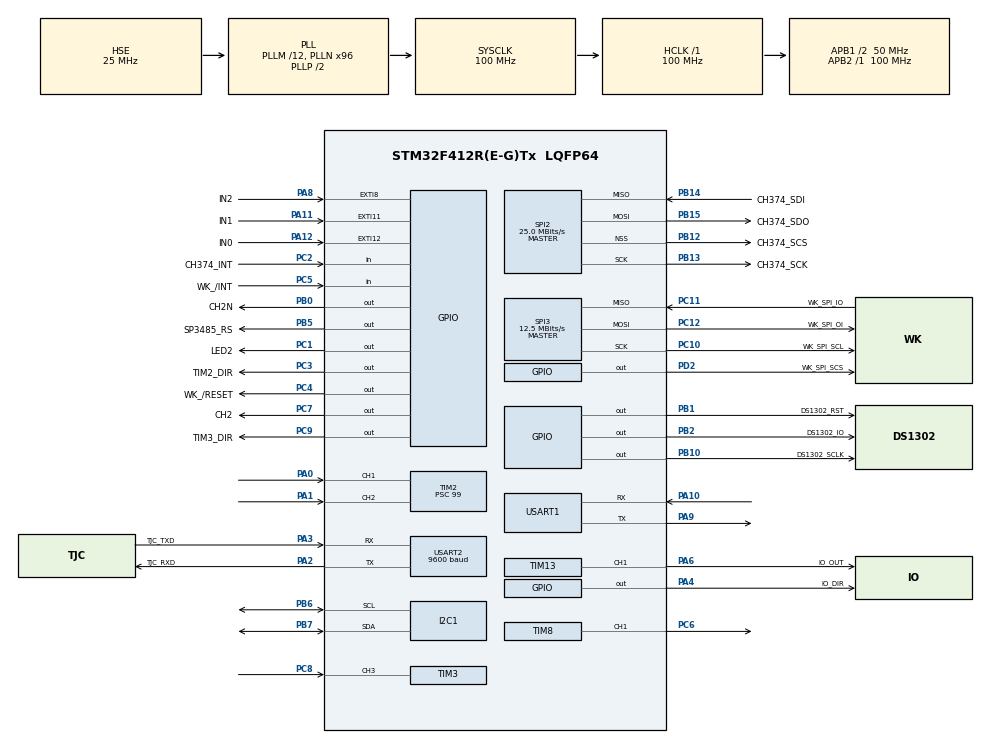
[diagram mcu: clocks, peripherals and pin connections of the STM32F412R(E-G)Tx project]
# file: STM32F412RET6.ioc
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Dma.Request0=USART2_RX
Dma.Request1=USART2_TX
Dma.Request2=USART1_RX
Dma.Request3=USART1_TX
Dma.USART1_RX.2.Direction=DMA_PERIPH_TO_MEMORY
Dma.USART1_RX.2.FIFOMode=DMA_FIFOMODE_DISABLE
Dma.USART1_RX.2.Instance=DMA2_Stream2
Dma.USART1_RX.2.MemDataAlignment=DMA_MDATAALIGN_BYTE
Dma.USART1_RX.2.MemInc=DMA_MINC_ENABLE
Dma.USART1_RX.2.Mode=DMA_NORMAL
Dma.USART1_RX.2.PeriphDataAlignment=DMA_PDATAALIGN_BYTE
Dma.USART1_RX.2.PeriphInc=DMA_PINC_DISABLE
Dma.USART1_RX.2.Priority=DMA_PRIORITY_LOW
Dma.USART1_TX.3.Direction=DMA_MEMORY_TO_PERIPH
Dma.USART1_TX.3.FIFOMode=DMA_FIFOMODE_DISABLE
Dma.USART1_TX.3.Instance=DMA2_Stream7
Dma.USART1_TX.3.MemDataAlignment=DMA_MDATAALIGN_BYTE
Dma.USART1_TX.3.MemInc=DMA_MINC_ENABLE
Dma.USART1_TX.3.Mode=DMA_NORMAL
Dma.USART1_TX.3.PeriphDataAlignment=DMA_PDATAALIGN_BYTE
Dma.USART1_TX.3.PeriphInc=DMA_PINC_DISABLE
Dma.USART1_TX.3.Priority=DMA_PRIORITY_LOW
Dma.USART2_RX.0.Direction=DMA_PERIPH_TO_MEMORY
Dma.USART2_RX.0.FIFOMode=DMA_FIFOMODE_DISABLE
Dma.USART2_RX.0.Instance=DMA1_Stream5
Dma.USART2_RX.0.MemDataAlignment=DMA_MDATAALIGN_BYTE
Dma.USART2_RX.0.MemInc=DMA_MINC_ENABLE
Dma.USART2_RX.0.Mode=DMA_NORMAL
Dma.USART2_RX.0.PeriphDataAlignment=DMA_PDATAALIGN_BYTE
Dma.USART2_RX.0.PeriphInc=DMA_PINC_DISABLE
Dma.USART2_RX.0.Priority=DMA_PRIORITY_LOW
Dma.USART2_TX.1.Direction=DMA_MEMORY_TO_PERIPH
Dma.USART2_TX.1.FIFOMode=DMA_FIFOMODE_DISABLE
Dma.USART2_TX.1.Instance=DMA1_Stream6
Dma.USART2_TX.1.MemDataAlignment=DMA_MDATAALIGN_BYTE
Dma.USART2_TX.1.MemInc=DMA_MINC_ENABLE
Dma.USART2_TX.1.Mode=DMA_NORMAL
Dma.USART2_TX.1.PeriphDataAlignment=DMA_PDATAALIGN_BYTE
Dma.USART2_TX.1.PeriphInc=DMA_PINC_DISABLE
Dma.USART2_TX.1.Priority=DMA_PRIORITY_LOW
FREERTOS.Queues01=myQueue01,5,uint8_t,0,Dynamic,NULL,NULL
FREERTOS.Tasks01=defaultTask,24,128,StartDefaultTask,Default,NULL,Dynamic,NULL,NULL;myTask01,8,128,StartTask01,Default,NULL,Dynamic,NULL,NULL
FREERTOS.configMAX_TASK_NAME_LEN=32
I2C1.I2C_Mode=I2C_Fast
Mcu.Family=STM32F4
Mcu.Name=STM32F412R(E-G)Tx
Mcu.Package=LQFP64
NVIC.DMA1_Stream5_IRQn=true\:5\:0\:false\:false\:true\:true\:false\:true\:true
NVIC.DMA1_Stream6_IRQn=true\:5\:0\:false\:false\:true\:true\:false\:true\:true
NVIC.DMA2_Stream2_IRQn=true\:5\:0\:false\:false\:true\:true\:false\:true\:true
NVIC.DMA2_Stream7_IRQn=true\:5\:0\:false\:false\:true\:true\:false\:true\:true
NVIC.EXTI15_10_IRQn=true\:5\:0\:false\:false\:true\:true\:true\:true\:true
NVIC.EXTI9_5_IRQn=true\:5\:0\:false\:false\:true\:true\:true\:true\:true
NVIC.I2C1_ER_IRQn=true\:5\:0\:false\:false\:true\:true\:true\:true\:true
NVIC.I2C1_EV_IRQn=true\:5\:0\:false\:false\:true\:true\:true\:true\:true
NVIC.PriorityGroup=NVIC_PRIORITYGROUP_4
NVIC.SPI3_IRQn=true\:5\:0\:false\:false\:true\:true\:true\:true\:true
NVIC.TIM1_UP_TIM10_IRQn=true\:15\:0\:false\:false\:true\:false\:false\:true\:true
NVIC.TIM2_IRQn=true\:5\:0\:true\:false\:true\:true\:true\:true\:true
NVIC.TIM3_IRQn=true\:6\:0\:true\:false\:true\:true\:true\:true\:true
NVIC.TIM8_BRK_TIM12_IRQn=true\:5\:0\:false\:false\:true\:true\:true\:true\:true
NVIC.TIM8_CC_IRQn=true\:5\:0\:false\:false\:true\:true\:true\:true\:true
NVIC.TIM8_TRG_COM_TIM14_IRQn=true\:5\:0\:false\:false\:true\:true\:true\:true\:true
NVIC.TIM8_UP_TIM13_IRQn=true\:5\:0\:false\:false\:true\:true\:true\:true\:true
NVIC.TimeBase=TIM1_UP_TIM10_IRQn
NVIC.TimeBaseIP=TIM1
NVIC.USART1_IRQn=true\:5\:0\:false\:false\:true\:true\:true\:true\:true
NVIC.USART2_IRQn=true\:5\:0\:false\:false\:true\:true\:true\:true\:true
PA0.GPIO_PuPd=GPIO_PULLUP
PA0.Signal=S_TIM2_CH1_ETR
PA1.GPIO_PuPd=GPIO_PULLUP
PA1.Signal=S_TIM2_CH2
PA10.Mode=Asynchronous
PA10.Signal=USART1_RX
PA11.GPIO_Label=IN1
PA11.Signal=GPXTI11
PA12.GPIO_Label=IN0
PA12.Signal=GPXTI12
PA13.GPIO_Label=TMS
PA13.Mode=JTAG_5_pins
PA13.Signal=SYS_JTMS-SWDIO
PA14.GPIO_Label=TCK
PA14.Mode=JTAG_5_pins
PA14.Signal=SYS_JTCK-SWCLK
PA15.GPIO_Label=TDI
PA15.Mode=JTAG_5_pins
PA15.Signal=SYS_JTDI
PA2.GPIO_Label=TJC_RXD
PA2.Mode=Asynchronous
PA2.Signal=USART2_TX
PA3.GPIO_Label=TJC_TXD
PA3.Mode=Asynchronous
PA3.Signal=USART2_RX
PA4.GPIO_Label=IO_DIR
PA4.Signal=GPIO_Output
PA6.GPIO_Label=IO_OUT
PA6.GPIO_PuPd=GPIO_NOPULL
PA6.Signal=S_TIM13_CH1
PA8.GPIO_Label=IN2
PA8.GPIO_ModeDefaultEXTI=GPIO_MODE_IT_RISING
PA8.Signal=GPXTI8
PA9.Mode=Asynchronous
PA9.Signal=USART1_TX
PB0.GPIO_Label=CH2N
PB0.Signal=GPIO_Output
PB1.GPIO_Label=DS1302_RST
PB1.Signal=GPIO_Output
PB10.GPIO_Label=DS1302_SCLK
PB10.GPIO_PuPd=GPIO_PULLUP
PB10.Signal=GPIO_Output
PB12.GPIO_Label=CH374_SCS
PB12.Mode=NSS_Signal_Hard_Output
PB12.Signal=SPI2_NSS
PB13.GPIO_Label=CH374_SCK
PB13.Mode=Full_Duplex_Master
PB13.Signal=SPI2_SCK
PB14.GPIO_Label=CH374_SDI
PB14.Mode=Full_Duplex_Master
PB14.Signal=SPI2_MISO
PB15.GPIO_Label=CH374_SDO
PB15.Mode=Full_Duplex_Master
PB15.Signal=SPI2_MOSI
PB2.GPIO_Label=DS1302_IO
PB2.Signal=GPIO_Output
PB3.GPIO_Label=TDO
PB3.Mode=JTAG_5_pins
PB3.Signal=SYS_JTDO-SWO
PB4.GPIO_Label=NTRST
PB4.Mode=JTAG_5_pins
PB4.Signal=SYS_JTRST
PB5.GPIO_Label=SP3485_RS
PB5.Signal=GPIO_Output
PB6.Mode=I2C
PB6.Signal=I2C1_SCL
PB7.Mode=I2C
PB7.Signal=I2C1_SDA
PC1.GPIO_Label=LED2
PC1.GPIO_PuPd=GPIO_PULLUP
PC1.Signal=GPIO_Output
PC10.GPIO_Label=WK_SPI_SCL
PC10.Mode=Full_Duplex_Master
PC10.Signal=SPI3_SCK
PC11.GPIO_Label=WK_SPI_IO
PC11.Mode=Full_Duplex_Master
PC11.Signal=SPI3_MISO
PC12.GPIO_Label=WK_SPI_OI
PC12.Mode=Full_Duplex_Master
PC12.Signal=SPI3_MOSI
PC2.GPIO_Label=CH374_INT
PC2.Signal=GPIO_Input
PC3.GPIO_Label=TIM2_DIR
PC3.Signal=GPIO_Output
PC4.GPIO_Label=WK_/RESET
PC4.Signal=GPIO_Output
PC5.GPIO_Label=WK_/INT
PC5.Signal=GPIO_Input
PC6.Signal=S_TIM8_CH1
PC7.GPIO_Label=CH2
PC7.Signal=GPIO_Output
PC8.Signal=S_TIM3_CH3
PC9.GPIO_Label=TIM3_DIR
PC9.Signal=GPIO_Output
PD2.GPIO_Label=WK_SPI_SCS
PD2.GPIO_PuPd=GPIO_PULLUP
PD2.Signal=GPIO_Output
PH0\ -\ OSC_IN.Mode=HSE-External-Oscillator
PH0\ -\ OSC_IN.Signal=RCC_OSC_IN
PH1\ -\ OSC_OUT.Mode=HSE-External-Oscillator
PH1\ -\ OSC_OUT.Signal=RCC_OSC_OUT
ProjectManager.HeapSize=0x200
ProjectManager.StackSize=0x400
ProjectManager.TargetToolchain=MDK-ARM V5.32
RCC.AHBFreq_Value=100000000
RCC.APB1CLKDivider=RCC_HCLK_DIV2
RCC.APB1Freq_Value=50000000
RCC.APB1TimFreq_Value=100000000
RCC.APB2Freq_Value=100000000
RCC.APB2TimFreq_Value=100000000
RCC.CortexFreq_Value=100000000
RCC.HCLKFreq_Value=100000000
RCC.PLLM=12
RCC.PLLN=96
RCC.PLLSourceVirtual=RCC_PLLSOURCE_HSE
RCC.SYSCLKFreq_VALUE=100000000
RCC.SYSCLKSource=RCC_SYSCLKSOURCE_PLLCLK
RCC.USBFreq_Value=100000000
RCC.VCOOutputFreq_Value=200000000
SH.S_TIM13_CH1.0=TIM13_CH1,PWM Generation1 CH1
SH.S_TIM2_CH1_ETR.0=TIM2_CH1,Encoder_Interface
SH.S_TIM2_CH2.0=TIM2_CH2,Encoder_Interface
SH.S_TIM3_CH3.0=TIM3_CH3,Input_Capture3_from_TI3
SH.S_TIM8_CH1.0=TIM8_CH1,PWM Generation1 CH1
SPI2.CalculateBaudRate=25.0 MBits/s
SPI2.Direction=SPI_DIRECTION_2LINES
SPI2.Mode=SPI_MODE_MASTER
SPI2.VirtualNSS=VM_NSSHARD
SPI2.VirtualType=VM_MASTER
SPI3.BaudRatePrescaler=SPI_BAUDRATEPRESCALER_4
SPI3.CLKPhase=SPI_PHASE_2EDGE
SPI3.CLKPolarity=SPI_POLARITY_HIGH
SPI3.CalculateBaudRate=12.5 MBits/s
SPI3.Direction=SPI_DIRECTION_2LINES
SPI3.Mode=SPI_MODE_MASTER
SPI3.VirtualType=VM_MASTER
TIM13.AutoReloadPreload=TIM_AUTORELOAD_PRELOAD_DISABLE
TIM13.Channel=TIM_CHANNEL_1
TIM13.Period=1000-1
TIM13.Prescaler=100-1
TIM13.Pulse=500
TIM2.EncoderMode=TIM_ENCODERMODE_TI12
TIM2.IC1Filter=6
TIM2.IC2Filter=6
TIM2.Period=20000-1
TIM2.Prescaler=99
TIM3.AutoReloadPreload=TIM_AUTORELOAD_PRELOAD_ENABLE
TIM3.Channel-Input_Capture3_from_TI3=TIM_CHANNEL_3
TIM3.Period=20000-1
TIM3.Prescaler=999
TIM8.AutoReloadPreload=TIM_AUTORELOAD_PRELOAD_DISABLE
TIM8.Channel-PWM\ Generation1\ CH1=TIM_CHANNEL_1
TIM8.Period=5
TIM8.Prescaler=100-1
TIM8.Pulse-PWM\ Generation1\ CH1=500
USART1.VirtualMode=VM_ASYNC
USART2.BaudRate=9600
USART2.VirtualMode=VM_ASYNC
VP_FREERTOS_VS_CMSIS_V2.Mode=CMSIS_V2
VP_SYS_VS_tim1.Mode=TIM1
VP_TIM13_VS_ClockSourceINT.Mode=Enable_Timer
VP_TIM3_VS_ClockSourceINT.Mode=Internal
board=custom

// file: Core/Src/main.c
/* USER CODE BEGIN Header */
/**
  ******************************************************************************
  * @file           : main.c
  * @brief          : Main program body
  ******************************************************************************
  * @attention
  *
  * Copyright (c) 2024 STMicroelectronics.
  * All rights reserved.
  *
  * This software is licensed under terms that can be found in the LICENSE file
  * in the root directory of this software component.
  * If no LICENSE file comes with this software, it is provided AS-IS.
  *
  ******************************************************************************
  */
/* USER CODE END Header */
#include "main.h"
#include "cmsis_os.h"
#include "dma.h"
#include "i2c.h"
#include "spi.h"
#include "tim.h"
#include "usart.h"
#include "gpio.h"

/* USER CODE BEGIN Includes */
float speed_Record[SPEED_RECORD_NUM]={0};
/* USER CODE END Includes */

/* USER CODE BEGIN PTD */
float Speed_Low_Filter(float new_Spe,float *speed_Record);
/* USER CODE END PTD */

void SystemClock_Config(void);
void MX_FREERTOS_Init(void);

int main(void)
{

  /* MCU Configuration--------------------------------------------------------*/

  /* Reset of all peripherals, Initializes the Flash interface and the Systick. */
  HAL_Init();

  /* Configure the system clock */
  SystemClock_Config();

  /* Initialize all configured peripherals */
  MX_GPIO_Init();
  MX_DMA_Init();
  MX_TIM2_Init();
  MX_USART2_UART_Init();
  MX_USART1_UART_Init();
  MX_I2C1_Init();
  MX_SPI2_Init();
  MX_SPI3_Init();
  MX_TIM3_Init();
  MX_TIM8_Init();
  MX_TIM13_Init();

  /* Init scheduler */
  osKernelInitialize();  /* Call init function for freertos objects (in freertos.c) */
  MX_FREERTOS_Init();

  /* Start scheduler */
  osKernelStart();

  /* We should never get here as control is now taken by the scheduler */
  /* Infinite loop */
  while (1)
  {

  }
}

void SystemClock_Config(void)
{
  RCC_OscInitTypeDef RCC_OscInitStruct = {0};
  RCC_ClkInitTypeDef RCC_ClkInitStruct = {0};

  /** Configure the main internal regulator output voltage
  */
  __HAL_RCC_PWR_CLK_ENABLE();
  __HAL_PWR_VOLTAGESCALING_CONFIG(PWR_REGULATOR_VOLTAGE_SCALE1);

  /** Initializes the RCC Oscillators according to the specified parameters
  * in the RCC_OscInitTypeDef structure.
  */
  RCC_OscInitStruct.OscillatorType = RCC_OSCILLATORTYPE_HSE;
  RCC_OscInitStruct.HSEState = RCC_HSE_ON;
  RCC_OscInitStruct.PLL.PLLState = RCC_PLL_ON;
  RCC_OscInitStruct.PLL.PLLSource = RCC_PLLSOURCE_HSE;
  RCC_OscInitStruct.PLL.PLLM = 12;
  RCC_OscInitStruct.PLL.PLLN = 96;
  RCC_OscInitStruct.PLL.PLLP = RCC_PLLP_DIV2;
  RCC_OscInitStruct.PLL.PLLQ = 2;
  RCC_OscInitStruct.PLL.PLLR = 2;
  if (HAL_RCC_OscConfig(&RCC_OscInitStruct) != HAL_OK)
  {
    Error_Handler();
  }

  /** Initializes the CPU, AHB and APB buses clocks
  */
  RCC_ClkInitStruct.ClockType = RCC_CLOCKTYPE_HCLK|RCC_CLOCKTYPE_SYSCLK
                              |RCC_CLOCKTYPE_PCLK1|RCC_CLOCKTYPE_PCLK2;
  RCC_ClkInitStruct.SYSCLKSource = RCC_SYSCLKSOURCE_PLLCLK;
  RCC_ClkInitStruct.AHBCLKDivider = RCC_SYSCLK_DIV1;
  RCC_ClkInitStruct.APB1CLKDivider = RCC_HCLK_DIV2;
  RCC_ClkInitStruct.APB2CLKDivider = RCC_HCLK_DIV1;

  if (HAL_RCC_ClockConfig(&RCC_ClkInitStruct, FLASH_LATENCY_3) != HAL_OK)
  {
    Error_Handler();
  }
}

/* USER CODE BEGIN 4 */
void HAL_GPIO_EXTI_Callback(uint16_t GPIO_Pin)//GPIO中断回调函数
{
	if(GPIO_Pin==IN0_Pin)
	{
		if(Position_flag==0)//刚开机
		{
			Position_flag=1;
		__HAL_TIM_SET_COUNTER(&htim2, 10000);//校验位置
		}
		else if(Position_flag==1)
		{
			Position_flag=2;
			Encoder_Processing_flag=1;
		}
		else if(Position_flag==3)//以自检
		{
			Position_flag=4;
			Encoder_Processing_flag=1;
		}
		__HAL_GPIO_EXTI_CLEAR_IT(IN0_Pin);//清除中断标志位
		HAL_GPIO_TogglePin(GPIOB,GPIO_PIN_0);//控制电机驱动控制电机正反转
	}

	else if(GPIO_Pin==IN1_Pin)
	{
		if(Position_flag==2)
		{
			Position_flag=3;
			Position=0.0f;
		}
		else if(Position_flag==3)//自检
		{
			Position_flag=5;
			Encoder_Processing_flag=1;
		}
		__HAL_TIM_SET_COUNTER(&htim2, 10000);//校验位置
		__HAL_GPIO_EXTI_CLEAR_IT(IN1_Pin);//清除中断标志位
	}

	else if(GPIO_Pin==IN2_Pin)
	{
		if(Position_flag==0)//刚开机
		{
			Position_flag=1;
		__HAL_TIM_SET_COUNTER(&htim2, 10000);//校验位置
		}
		else if(Position_flag==1)
		{
			Position_flag=2;
			Encoder_Processing_flag=1;
		}
		else if(Position_flag==3)//自检
		{
			Position_flag=6;
			Encoder_Processing_flag=1;
		}
		__HAL_GPIO_EXTI_CLEAR_IT(IN2_Pin);//清除中断标志位
		HAL_GPIO_TogglePin(GPIOB,GPIO_PIN_0);//控制电机驱动控制电机正反转
	}

}

/*
 * 进行速度的平均滤波
 * 输入新采样到的速度，存放速度的数组，
 * 返回滤波后的速度
 */
float Speed_Low_Filter(float new_Spe,float *speed_Record)
{
    float sum = 0.0f;
    float test_Speed;
    for(uint8_t i=SPEED_RECORD_NUM-1;i>0;i--)//将现有数据后移一位
    {
        speed_Record[i] = speed_Record[i-1];
        sum += speed_Record[i-1];
    }
    speed_Record[0] = new_Spe;//第一位是新的数据
    sum += new_Spe;
    test_Speed = sum/SPEED_RECORD_NUM;
    return test_Speed;//返回均值
}

/* USER CODE END 4 */

void HAL_TIM_PeriodElapsedCallback(TIM_HandleTypeDef *htim)
{
  if (htim->Instance == TIM1) {
    HAL_IncTick();
  }
  /* USER CODE BEGIN Callback 1 */
	else if(htim->Instance==TIM3)//间隔定时器中断，是时候计算速度了（100ms处理一次）
	{
		Encoder_Processing_flag=1;
	}

	else if(htim->Instance==TIM2)//码器溢出更新中断
	{
		if(COUNTERNUM < 10000)	motor1.overflowNum++;         //向上计数超过10000，正溢出+1
		else if(COUNTERNUM > 10000)	motor1.overflowNum--;     //向下计数小于0，负溢出+1
		__HAL_TIM_SetCounter(&htim2, 10000);             //重新设定初始值
	}

	else if(htim->Instance==TIM8)//PWM输出
	{
		if(htim->Channel == HAL_TIM_ACTIVE_CHANNEL_1)//判断是否为定时器 通道1
		{
			if(Position_flag==0||Position_flag==1||Position_flag==2)//自检位置持续移动
			{
				HAL_TIM_PWM_Start_IT(&htim8,TIM_CHANNEL_1);//启动TIM8_CH1的PWM波输出（中断）
			}

//			__HAL_TIM_SetCompare(&htim8,TIM_CHANNEL_1,pwmVal_TIM8);//修改占空比大小
//			HAL_TIM_PWM_Start_IT(&htim8,TIM_CHANNEL_1);//启动TIM8_CH1的PWM波输出（中断）
		}
	}
	else if(htim->Instance==TIM13)//PWM输出
	{
		if(htim->Channel == HAL_TIM_ACTIVE_CHANNEL_1)//判断是否为定时器 通道1
		{

//		HAL_TIM_PWM_Start_IT(&htim13,TIM_CHANNEL_1);//启动TIM13_CH1的PWM波输出（中断）
		}
	}
  /* USER CODE END Callback 1 */
}

void Error_Handler(void)
{
  __disable_irq();
  while (1)
  {
  }
}

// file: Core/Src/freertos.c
/* USER CODE BEGIN Header */
/**
  ******************************************************************************
  * File Name          : freertos.c
  * Description        : Code for freertos applications
  ******************************************************************************
  * @attention
  *
  * Copyright (c) 2024 STMicroelectronics.
  * All rights reserved.
  *
  * This software is licensed under terms that can be found in the LICENSE file
  * in the root directory of this software component.
  * If no LICENSE file comes with this software, it is provided AS-IS.
  *
  ******************************************************************************
  */
/* USER CODE END Header */

#include "FreeRTOS.h"
#include "task.h"
#include "main.h"
#include "cmsis_os.h"

/* USER CODE BEGIN PTD */
wiz_NetInfo gWIZNETINFO = {
  .mac = { 0x80, 0x80, 0x80,0x80,0x80,0x80 },//MSB - LSB
  .ip  = { 192, 168, 1, 10 },
  .sn  = { 255, 255, 255, 0 },
  .gw  = { 192, 168, 1, 1 },//网关参数
  .dns  = { 8, 8, 8, 8 },
  .dhcp = NETINFO_STATIC };

Motor motor1;
float Position;//距0点位置,单位mm
uint16_t pwmVal_TIM8 = 0;  //占空比大小(CCRx的大小，高电平时间)
uint8_t Position_flag=0;//位置标志位
uint8_t Encoder_Processing_flag=0;//编码器数据处理标志位
float  Track_Length;//轨道长，单位毫米
uint16_t pwmVal_TIM13 = 0;  //占空比大小(CCRx的大小，高电平时间)
uint8_t Sports_mode=0;//运动模式
/* USER CODE END PTD */

/* Definitions for defaultTask */
osThreadId_t defaultTaskHandle;
const osThreadAttr_t defaultTask_attributes = {
  .name = "defaultTask",
  .stack_size = 128 * 4,
  .priority = (osPriority_t) osPriorityNormal,
};
/* Definitions for myTask01 */
osThreadId_t myTask01Handle;
const osThreadAttr_t myTask01_attributes = {
  .name = "myTask01",
  .stack_size = 128 * 4,
  .priority = (osPriority_t) osPriorityLow,
};
/* Definitions for myQueue01 */
osMessageQueueId_t myQueue01Handle;
const osMessageQueueAttr_t myQueue01_attributes = {
  .name = "myQueue01"
};

/* USER CODE BEGIN FunctionPrototypes */
osThreadId_t EthernetTaskHandle;
const osThreadAttr_t EthernetTask_attributes = {
  .name = "EthernetTask",
  .stack_size = 256 * 4,
  .priority = (osPriority_t) osPriorityLow,
};

osThreadId_t EncoderTaskHandle;
const osThreadAttr_t EncoderTask_attributes = {
  .name = "EncoderTask",
  .stack_size = 128 * 4,
  .priority = (osPriority_t) osPriorityLow,
};

osThreadId_t DriveTaskHandle;
const osThreadAttr_t DriveTask_attributes = {
  .name = "DriveTask",
  .stack_size = 128 * 4,
  .priority = (osPriority_t) osPriorityLow,
};

osThreadId_t Pulse_EmissionTaskHandle;
const osThreadAttr_t Pulse_EmissionTask_attributes = {
  .name = "Pulse_EmissionTask",
  .stack_size = 128 * 4,
  .priority = (osPriority_t) osPriorityLow,
};

osThreadId_t ScreenTaskHandle;
const osThreadAttr_t ScreenTask_attributes = {
  .name = "ScreenTask",
  .stack_size = 128 * 4,
  .priority = (osPriority_t) osPriorityLow,
};

osMessageQueueId_t Ethernet_ReceiveHandle;
const osMessageQueueAttr_t Ethernet_Receive_attributes = {
  .name = "Ethernet_Receive"
};

void Ethernet(void *argument);//网络通信
void Encoder(void *argument);//电动机编码器通讯
void Drive(void *argument);//控制驱动器
void Pulse_Emission(void *argument);//脉冲发射
void Screen(void *argument);//屏幕通信
/* USER CODE END FunctionPrototypes */

void StartDefaultTask(void *argument);
void StartTask01(void *argument);

void MX_FREERTOS_Init(void); /* (MISRA C 2004 rule 8.1) */

void MX_FREERTOS_Init(void) {

  /* Create the queue(s) */
  /* creation of myQueue01 */
  myQueue01Handle = osMessageQueueNew (5, sizeof(uint8_t), &myQueue01_attributes);

  /* Create the thread(s) */
  /* creation of defaultTask */
  defaultTaskHandle = osThreadNew(StartDefaultTask, NULL, &defaultTask_attributes);

  /* creation of myTask01 */
  myTask01Handle = osThreadNew(StartTask01, NULL, &myTask01_attributes);

  /* USER CODE BEGIN RTOS_THREADS */
	EthernetTaskHandle = osThreadNew(Ethernet, NULL, &EthernetTask_attributes);
	EncoderTaskHandle = osThreadNew(Encoder, NULL, &EncoderTask_attributes);
	DriveTaskHandle = osThreadNew(Drive, NULL, &DriveTask_attributes);
	Pulse_EmissionTaskHandle = osThreadNew(Pulse_Emission, NULL, &Pulse_EmissionTask_attributes);
	ScreenTaskHandle = osThreadNew(Screen, NULL, &ScreenTask_attributes);

	Ethernet_ReceiveHandle = osMessageQueueNew (5, 5*sizeof(uint8_t), &Ethernet_Receive_attributes);

  /* add threads, ... */
  /* USER CODE END RTOS_THREADS */

}

void StartDefaultTask(void *argument)
{
  for(;;)
  {
    osDelay(1);
  }
}

void StartTask01(void *argument)
{
  for(;;)
  {
    osDelay(1);
  }
}

/* USER CODE BEGIN Application */
void Ethernet(void *argument)//W5500通讯
{
	printf("A simple Ping Application using W5500!\r\n");
  W5500Init();//w5500初始化
  ctlnetwork(CN_SET_NETINFO, (void*)&gWIZNETINFO);  //配置网络参数
  wiz_PhyConf phyconf;
  phyconf.by = PHY_CONFBY_SW;
  phyconf.duplex = PHY_DUPLEX_FULL;
  phyconf.speed = PHY_SPEED_10;
  phyconf.mode = PHY_MODE_AUTONEGO;
  ctlwizchip(CW_SET_PHYCONF, (void*)&phyconf); //配置PHY参数
  PHYStatusCheck();//检查网络连接参数
  PrintPHYConf();//打印PHY配置信息
  printf("Simple Ping Application\r\n");
	uint8_t Ethernet_Receive_array[5];	//上位机控制数组
  for(;;)
  {
    osDelay(500);
		HAL_GPIO_TogglePin(GPIOC, LED2_Pin);
		osMessageQueuePut(Ethernet_ReceiveHandle,Ethernet_Receive_array,1,0);
  }

}

void Encoder(void *argument)//电动机编码器通讯
{
	if(Position_flag==1)
	{
		HAL_TIM_Encoder_Start(&htim2, TIM_CHANNEL_ALL);      //开启编码器定时器
		__HAL_TIM_ENABLE_IT(&htim2,TIM_IT_UPDATE);          //开启编码器定时器更新中断,防溢出处理
		HAL_TIM_Base_Start_IT(&htim3);                    //开启100ms定时器中断
		__HAL_TIM_SET_COUNTER(&htim2, 10000);               //编码器定时器初始值设定为10000
		motor1.lastCount = 0;                               //结构体内容初始化
		motor1.totalCount = 0;
		motor1.overflowNum = 0;
		motor1.speed = 0;
		motor1.direct = 0;
		motor1.distance = 0;
		Position=0;
	}
  for(;;)
  {
		if(Encoder_Processing_flag==1)
		{
			Encoder_Processing_flag=0;
			motor1.direct = __HAL_TIM_IS_TIM_COUNTING_DOWN(&htim2);//如果向上计数（正转），返回值为0，否则返回值为1
			int16_t pluse = COUNTERNUM - RELOADVALUE/2;
			motor1.totalCount = pluse+ motor1.overflowNum * RELOADVALUE/2;//从开始到现在当前100ms的总脉冲数
			motor1.speed = (float)(motor1.totalCount - motor1.lastCount) / (4 * MOTOR_SPEED_RERATIO * PULSE_PRE_ROUND);//算得100ms转了多少圈,除以4是因为4倍频
			motor1.speed = Speed_Low_Filter(motor1.speed,speed_Record);//滤波函数
			motor1.lastCount = motor1.totalCount; //记录这一次的计数值
			motor1.distance = One_Circle_Distance * motor1.speed;//计算移动距离
			switch(Position_flag)
			{
				case 1:
					Position = Position + motor1.distance;
					break;

				case 2:
					Track_Length=Position+motor1.distance;//得出轨道长度
					break;

				case 3:
					if(motor1.direct==1)//反转
					{
						Position = Position - motor1.distance;	//距零点距离
					}
					else//正转
					{
						Position = Position + motor1.distance;	//距零点距离
					}
					break;

				case 4:
					Position=0.0f-(Track_Length/2);
					Position_flag=3;
					break;

				case 5:
					Position=0.0f;;
					Position_flag=3;
					break;

				case 6:
					Position=Track_Length/2;
					Position_flag=3;
					break;

				default:
					break;
			}
		}
    osDelay(1);
  }

}

void Drive(void *argument)//控制驱动器
{
	uint8_t status=0;
	uint8_t Drive_control_array[5];	//驱动器控制数组
	HAL_TIM_Base_Start_IT(&htim8);//开启TIM8定时器中断（200KHZ，周期5us）
	HAL_TIM_PWM_Start_IT(&htim8,TIM_CHANNEL_1);//启动TIM8_CH1的PWM波输出（中断）
  for(;;)
  {
		status=osMessageQueueGet(Ethernet_ReceiveHandle,Drive_control_array,NULL,10);
		if(status!=osOK)	//一段时间（500ms）未收到脉冲
		{
//		__HAL_TIM_SetCompare(&htim8,TIM_CHANNEL_1,pwmVal_TIM8);//修改占空比大小
//		HAL_GPIO_WritePin(GPIOB,GPIO_PIN_0,GPIO_PIN_SET);//控制电机驱动控制电机正反装
//		HAL_GPIO_WritePin(GPIOC,GPIO_PIN_7,GPIO_PIN_SET);//控制电机驱动控制电机启停
		}
		osDelay(1);
  }
}

void Pulse_Emission(void *argument)//脉冲发射（TIM13_CH1通道）
{
	HAL_GPIO_WritePin(GPIOA, GPIO_PIN_4, GPIO_PIN_SET);//配置DIR引脚高电平，电平转换器A->B
	HAL_TIM_Base_Start_IT(&htim13);//开启TIM13定时器中断
	HAL_TIM_PWM_Start_IT(&htim13,TIM_CHANNEL_1);//启动TIM13_CH1的PWM波输出（中断）
  for(;;)
  {
//		__HAL_TIM_SetCompare(&htim13,TIM_CHANNEL_1,pwmVal_TIM13);//修改占空比大小
    osDelay(1);
  }
}

void Screen(void *argument)//屏幕通信
{
//	initRingBuff();																//初始化环形缓存区
//	HAL_UART_Receive_IT(&huart2,RxBuff,1);				//打开串口接收中断
	TJCPrintf("0x00");         							  		//为确保串口HMI正常通信
  for(;;)
  {
    osDelay(1);
//		while(usize >= FRAMELENGTH)//串口缓存区数量大于6
//	  {
//		  //校验帧头帧尾是否匹配
//		  if(u(0) != 0x55 || u(6) != 0xff || u(7) != 0xff || u(8) != 0xff)
//		  {
//			  //不匹配删除1字节
//			  udelete(1);
//		  }else
//		  {
//			  //匹配，跳出循环
//			  break;
//		  }
//	  }
//	  //进行解析
//	  if(usize >= FRAMELENGTH && u(0) == 0x55 && u(6) == 0xff && u(7) == 0xff && u(8) == 0xff)
//	  {
//		  udelete(FRAMELENGTH);//删除串口缓冲区中相应长度的数据
//	  }
//		TJCPrintf("set.t3.txt=\"%d\"",Position);	//显示位移距离
//		TJCPrintf("set.j0.val=%d",Position/Track_Length);	//显示进度条距离
//		TJCPrintf("set.t1.txt=\"%d\"",motor1.direct);	//显示运动方向
//		TJCPrintf("set.t4.txt=\"%d\"",motor1.speed*10);	//显示速度
//		TJCPrintf("set.t4.txt=\"%d\"",Sports_mode);	//显示运动模式

  }
}
/* USER CODE END Application */
